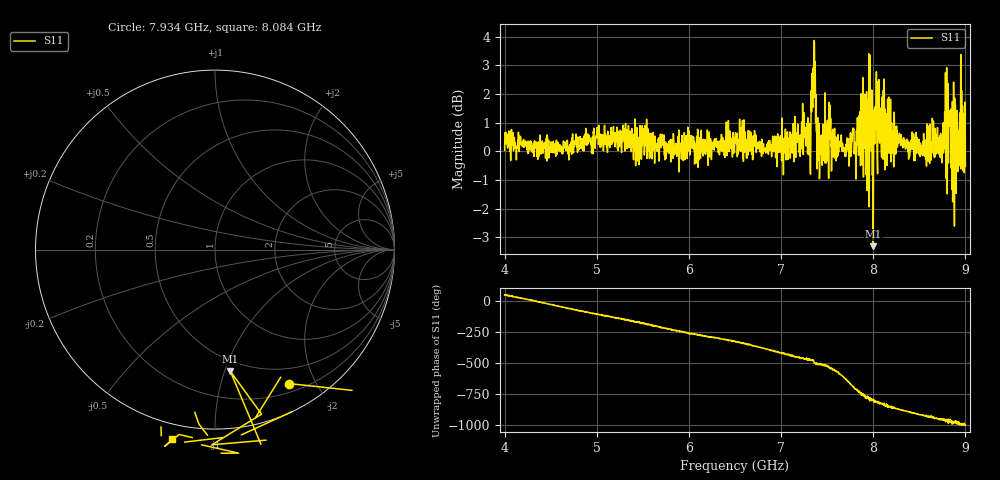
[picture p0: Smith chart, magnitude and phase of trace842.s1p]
! Created with skrf 1.8.0 (http://scikit-rf.org).
# Hz S RI R 50.0
!freq ReS11 ImS11
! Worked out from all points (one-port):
!   1601 points, 4 GHz to 9 GHz, reference 50 ohm
!   lowest |S11| = -3.3 dB at 8 GHz (marker M1), VSWR 5.31, Z = 20.6 - j52.3 ohm
!   |S11| at or under -10 dB: nowhere
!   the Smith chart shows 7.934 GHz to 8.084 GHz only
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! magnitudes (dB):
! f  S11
! 4 GHz  0.0
! 4.625 GHz  -0.1
! 5.25 GHz  0.2
! 5.875 GHz  0.0
! 6.5 GHz  0.3
! 7.038 GHz  0.0
! 7.125 GHz  0.7
! 7.297 GHz  0.3
! 7.353 GHz  1.9
! 7.412 GHz  0.1
! 7.516 GHz  -0.9
! 7.612 GHz  0.4
! 7.75 GHz  -0.1
! 7.891 GHz  -0.1
! 7.9 GHz  0.1
! 7.962 GHz  3.4
! 7.981 GHz  0.0
! 8 GHz  -3.3
! 8.038 GHz  1.2
! 8.066 GHz  0.7
! 8.097 GHz  0.7
! 8.216 GHz  0.7
! 8.375 GHz  0.2
! 8.728 GHz  -0.2
! 8.819 GHz  0.7
! 8.881 GHz  -2.6
! 8.956 GHz  0.0
! 9 GHz  -0.5
